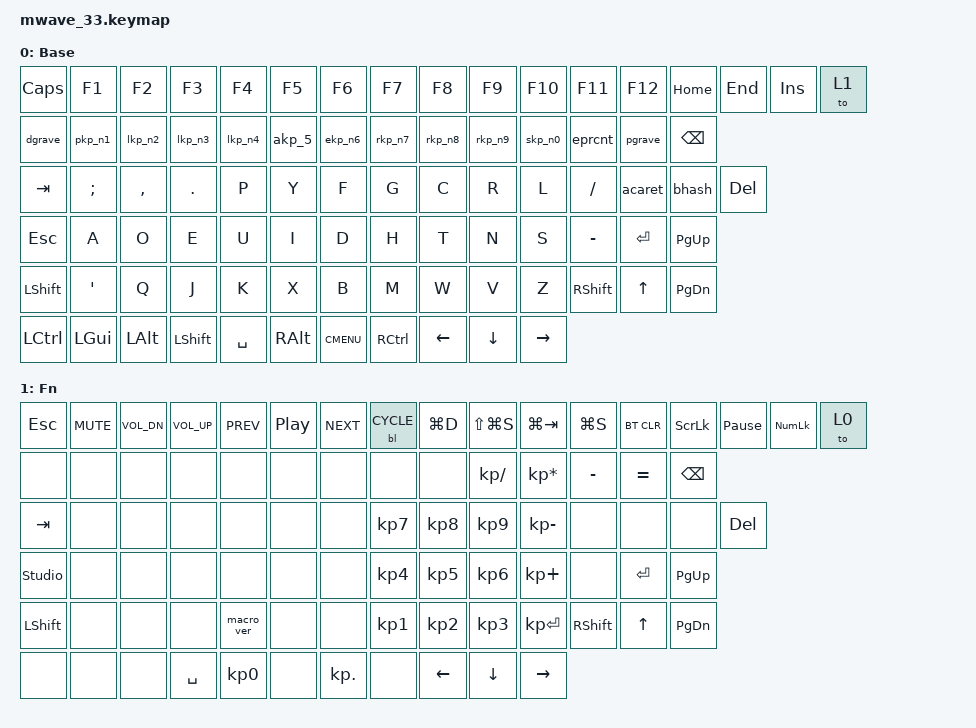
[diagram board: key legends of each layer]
#include <dt-bindings/advertising_mode.h>
#include <behaviors/advertising_mode.dtsi>
#include <behaviors/stp_indicators.dtsi>
#include "studio-macros.dtsi"
#include <behaviors.dtsi>
#include <dt-bindings/zmk/backlight.h>
#include <dt-bindings/zmk/bt.h>
#include <dt-bindings/zmk/keys.h>

/ {
    #include "mwave_prim.dtsi"

    behaviors {
        pgrave: pipe_grave {
            compatible = "zmk,behavior-mod-morph";
            label = "pipe_grave";
            #binding-cells = <0>;
            bindings = <&kp PIPE>, <&kp GRAVE>;

            mods = <(MOD_LSFT|MOD_RSFT)>;
        };

        pkp_n1: plus_kp_n1 {
            compatible = "zmk,behavior-mod-morph";
            label = "plus_kp_n1";
            #binding-cells = <0>;
            bindings = <&kp EQUAL>, <&kp N1>;

            mods = <(MOD_LSFT|MOD_RSFT)>;
        };

        lkp_n2: left_bracket_kp_n2 {
            compatible = "zmk,behavior-mod-morph";
            label = "left_bracket_kp_n2";
            bindings = <&kp LEFT_BRACKET>, <&kp N2>;

            #binding-cells = <0>;
            mods = <(MOD_LSFT|MOD_RSFT)>;
        };

        lkp_n3: left_brace_kp_n3 {
            compatible = "zmk,behavior-mod-morph";
            label = "left_brace_kp_n3";
            bindings = <&kp LEFT_BRACE>, <&kp N3>;

            #binding-cells = <0>;
            mods = <(MOD_LSFT|MOD_RSFT)>;
        };

        lkp_n4: left_parenthesis_kp_n4 {
            compatible = "zmk,behavior-mod-morph";
            label = "left_parenthesis_kp_n4";
            bindings = <&kp LEFT_PARENTHESIS>, <&kp N4>;

            #binding-cells = <0>;
            mods = <(MOD_LSFT|MOD_RSFT)>;
        };

        akp_5: amp_kp_n5 {
            compatible = "zmk,behavior-mod-morph";
            label = "amp_kp_n5";
            bindings = <&kp AMPERSAND>, <&kp N5>;

            #binding-cells = <0>;
            mods = <(MOD_LSFT|MOD_RSFT)>;
        };

        ekp_n6: equal_kp_n6 {
            compatible = "zmk,behavior-mod-morph";
            label = "equal_kp_n6";
            #binding-cells = <0>;
            bindings = <&kp EQUAL>, <&kp N6>;

            mods = <(MOD_LSFT|MOD_RSFT)>;
        };

        rkp_n7: right_parenthesis_kp_n7 {
            compatible = "zmk,behavior-mod-morph";
            label = "right_parenthesis_kp_n7";
            #binding-cells = <0>;
            bindings = <&kp RIGHT_PARENTHESIS>, <&kp N7>;

            mods = <(MOD_LSFT|MOD_RSFT)>;
        };

        rkp_n8: right_brace_kp_n8 {
            compatible = "zmk,behavior-mod-morph";
            label = "right_brace_kp_n8";
            #binding-cells = <0>;
            bindings = <&kp RIGHT_BRACE>, <&kp N8>;

            mods = <(MOD_LSFT|MOD_RSFT)>;
        };

        rkp_n9: right_bracket_kp_n9 {
            compatible = "zmk,behavior-mod-morph";
            label = "right_bracket_kp_n9";
            #binding-cells = <0>;
            bindings = <&kp RIGHT_BRACKET>, <&kp N9>;

            mods = <(MOD_LSFT|MOD_RSFT)>;
        };

        skp_n0: star_kp_n0 {
            compatible = "zmk,behavior-mod-morph";
            label = "star_kp_n0";
            #binding-cells = <0>;
            bindings = <&kp STAR>, <&kp N0>;

            mods = <(MOD_LSFT|MOD_RSFT)>;
        };

        eprcnt: excl_prcnt {
            compatible = "zmk,behavior-mod-morph";
            label = "excl_prcnt";
            #binding-cells = <0>;
            bindings = <&kp EXCL>, <&kp PRCNT>;

            mods = <(MOD_LSFT|MOD_RSFT)>;
        };

        dgrave: dllr_grave {
            compatible = "zmk,behavior-mod-morph";
            label = "dllr_grave";
            #binding-cells = <0>;
            bindings = <&kp DLLR>, <&kp TILDE>;

            mods = <(MOD_LSFT|MOD_RSFT)>;
        };

        bhash: bslh_hash {
            compatible = "zmk,behavior-mod-morph";
            label = "bslh_hash";
            #binding-cells = <0>;
            bindings = <&kp BSLH>, <&kp HASH>;

            mods = <(MOD_LSFT|MOD_RSFT)>;
        };

        acaret: at_caret {
            compatible = "zmk,behavior-mod-morph";
            label = "at_caret";
            #binding-cells = <0>;
            bindings = <&kp AT>, <&kp CARET>;

            mods = <(MOD_LSFT|MOD_RSFT)>;
        };
    };

    keymap {
        compatible = "zmk,keymap";

        default_layer {
            display-name = "Base";

            // -------------------------------------------------------------------------------------------------------
            // | ESC | F1  | F2  | F3  | F4  | F5  | F6  | | F7  | F8  | F9  | F10 | F11 | F12 |HOME| END |PSCN|  1  |
            // |GRAVE|  1  |  2  |  3  |  4  |  5  |  6  | |   7   |  8  |  9  |  0  |  -  |  =  |    BKSP     | DEL |
            // | TAB    |  Q  |  W  |  E  |  R  |   T    | |   Y  |  U  |  I  |  O  |  P  |  [  |  ]  |   \    |     |
            // | CAPS     |  A  |  S  |  D  |  F  |  G   | |  H    |  J  |  K  |  L  |  ;  |  '  |    ENTER    | PGUP|
            // |   SHIFT   |  Z  |  X  |  C  |  V  |  B  | |    N    |  M  |  ,  |  .  |  /  |   SHIFT   | UP  | PGDN|
            // |  CTL  |  WIN  |  ALT  |      SPACE      | |      SPACE        | ALT | MENU |RCTRL| LEFT| DOWN |RIGHT|
            // -------------------------------------------------------------------------------------------------------

            bindings = <
&kp CAPSLOCK    &kp F1        &kp F2     &kp F3          &kp F4     &kp F5    &kp F6       &kp F7     &kp F8    &kp F9    &kp F10    &kp F11    &kp F12  &kp HOME   &kp END  &kp INSERT  &to 1
&dgrave         &pkp_n1  &lkp_n2    &lkp_n3         &lkp_n4    &akp_5    &ekp_n6      &rkp_n7    &rkp_n8   &rkp_n9   &skp_n0    &eprcnt    &pgrave  &kp BSPC
&kp TAB         &kp SEMI      &kp COMMA  &kp PERIOD      &kp P      &kp Y     &kp F        &kp G      &kp C     &kp R     &kp L      &kp SLASH  &acaret  &bhash     &kp DEL
&kp ESCAPE      &kp A         &kp O      &kp E           &kp U      &kp I     &kp D        &kp H      &kp T     &kp N     &kp S      &kp MINUS  &kp RET  &kp PG_UP
&kp LEFT_SHIFT  &kp SQT       &kp Q      &kp J           &kp K      &kp X     &kp B        &kp M      &kp W     &kp V     &kp Z      &kp RSHFT  &kp UP   &kp PG_DN
&kp LCTRL       &kp LGUI      &kp LALT   &kp LEFT_SHIFT  &kp SPACE  &kp RALT  &kp K_CMENU  &kp RCTRL  &kp LEFT  &kp DOWN  &kp RIGHT
            >;
        };

        raise {
            display-name = "Fn";
            bindings = <
&kp ESCAPE      &kp C_MUTE  &kp C_VOL_DN  &kp C_VOL_UP  &kp C_PREV  &kp C_PP  &kp C_NEXT  &bl BL_CYCLE  &kp LG(D)  &kp LS(LG(S))  &kp LG(TAB)      &kp LG(S)        &bt BT_CLR  &kp SCROLLLOCK  &kp PAUSE_BREAK  &kp KP_NUMLOCK  &to 0
&none           &none       &none         &none         &none       &none     &none       &none         &none      &kp KP_DIVIDE  &kp KP_MULTIPLY  &kp MINUS        &kp EQUAL   &kp BACKSPACE
&kp TAB         &none       &none         &none         &none       &none     &none       &kp KP_N7     &kp KP_N8  &kp KP_N9      &kp KP_MINUS     &none            &none       &none           &kp DELETE
&studio_unlock  &none       &none         &none         &none       &none     &none       &kp KP_N4     &kp KP_N5  &kp KP_N6      &kp KP_PLUS      &none            &kp ENTER   &kp PAGE_UP
&kp LEFT_SHIFT  &none       &none         &none         &macro_ver  &none     &none       &kp KP_N1     &kp KP_N2  &kp KP_N3      &kp KP_ENTER     &kp RIGHT_SHIFT  &kp UP      &kp PAGE_DOWN
&none           &none       &none         &kp SPACE     &kp KP_N0   &none     &kp KP_DOT  &none         &kp LEFT   &kp DOWN       &kp RIGHT
            >;
        };

        extra1 {
            display-name = "Blue";
            status = "reserved";
        };

        extra2 {
            display-name = "Green";
            status = "reserved";
        };

        extra3 {
            display-name = "Red";
            status = "reserved";
        };

        extra4 {
            display-name = "Purple";
            status = "reserved";
        };

        extra5 {
            display-name = "Cyan";
            status = "reserved";
        };

        extra6 {
            display-name = "Yellow";
            status = "reserved";
        };
    };
};
